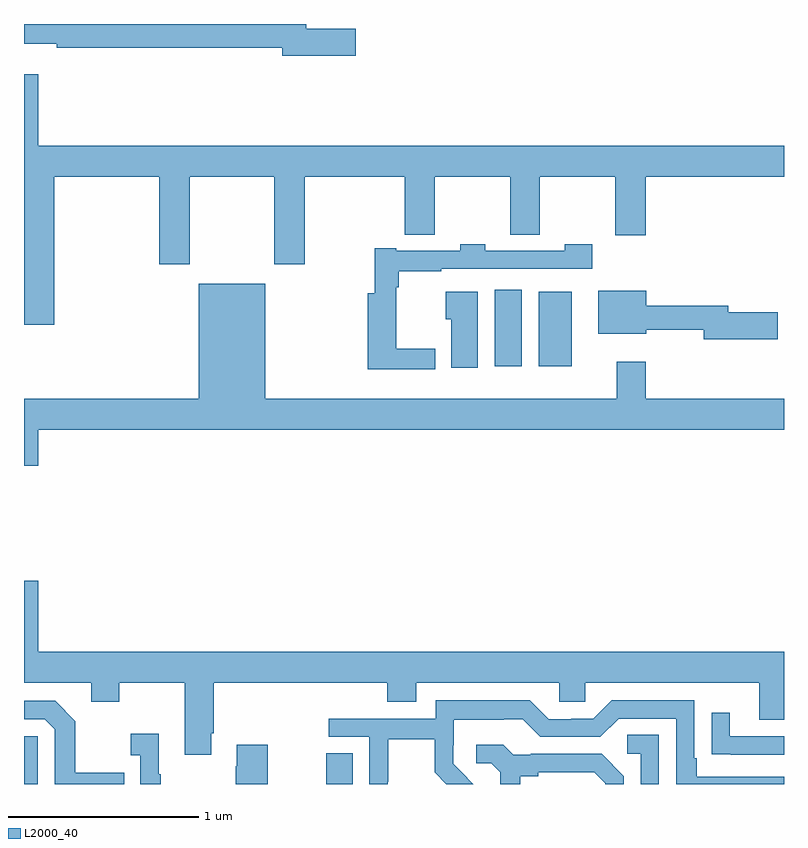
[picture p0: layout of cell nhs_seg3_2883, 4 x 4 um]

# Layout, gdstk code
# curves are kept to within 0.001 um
import gdstk
lib = gdstk.Library(unit=1e-6, precision=1e-09)
def R(c, l, rs):  # rectangles x0, y0, x1, y1
    for r in rs: c.add(gdstk.rectangle(r[:2], r[2:], *l))
def P(c, l, *ps):  # polygons
    for p in ps: c.add(gdstk.Polygon(p, *l))
L2000_40 = (2000, 40)

nhs_seg3_2883 = lib.new_cell('nhs_seg3_2883')
R(nhs_seg3_2883, L2000_40, [(261,684.4,261.072,684.651), (262.591,684.4,262.729,684.563), (263.477,686.6,263.62,687.001), (263.708,686.6,263.884,686.992)])
P(nhs_seg3_2883, L2000_40, [(262.747,688.376),(262.486,688.376),(262.486,688.4),(261,688.4),(261,688.295),(261.172,688.295),(261.172,688.276),(262.358,688.276),(262.358,688.234),(262.747,688.234)],
  [(261.158,687.596),(261.713,687.596),(261.713,687.135),(261.873,687.135),(261.873,687.596),(262.318,687.596),(262.318,687.135),(262.478,687.135),(262.478,687.596),(263.003,687.596),(263.003,687.292),(263.162,687.292),(263.162,687.596),(263.56,687.596),(263.56,687.292),(263.714,687.292),(263.714,687.596),(264.112,687.596),(264.112,687.288),(264.272,687.288),(264.272,687.596),(265,687.596),(265,687.76),(261.076,687.76),(261.076,688.135),(261,688.135),(261,686.817),(261.158,686.817)],
  [(263.164,686.692),(262.958,686.692),(262.958,687.014),(262.973,687.014),(262.973,687.099),(263.195,687.099),(263.195,687.111),(263.992,687.111),(263.992,687.24),(263.847,687.24),(263.847,687.207),(263.427,687.207),(263.427,687.24),(263.295,687.24),(263.295,687.207),(262.96,687.207),(262.96,687.22),(262.845,687.22),(262.845,686.983),(262.808,686.983),(262.808,686.582),(263.164,686.582)],
  [(261.076,686.264),(265,686.264),(265,686.428),(264.272,686.428),(264.272,686.623),(264.119,686.623),(264.119,686.428),(262.27,686.428),(262.27,687.034),(261.92,687.034),(261.92,686.428),(261,686.428),(261,686.076),(261.076,686.076)],
  [(264.967,686.882),(264.706,686.882),(264.706,686.918),(264.274,686.918),(264.274,686.995),(264.023,686.995),(264.023,686.771),(264.274,686.771),(264.274,686.79),(264.578,686.79),(264.578,686.74),(264.967,686.74)],
  [(263.389,686.992),(263.219,686.992),(263.219,686.845),(263.249,686.845),(263.249,686.592),(263.389,686.592)],
  [(261.985,684.667),(261.998,684.667),(261.998,684.932),(262.913,684.932),(262.913,684.833),(263.065,684.833),(263.065,684.932),(263.817,684.932),(263.817,684.834),(263.955,684.834),(263.955,684.932),(264.869,684.932),(264.869,684.738),(265,684.738),(265,685.096),(261.076,685.096),(261.076,685.471),(261,685.471),(261,684.932),(261.353,684.932),(261.353,684.833),(261.501,684.833),(261.501,684.932),(261.845,684.932),(261.845,684.555),(261.985,684.555)],
  [(262.914,684.412),(262.917,684.412),(262.917,684.636),(263.161,684.636),(263.161,684.461),(263.222,684.4),(263.364,684.4),(263.26,684.506),(263.26,684.603),(263.262,684.603),(263.262,684.737),(263.525,684.737),(263.525,684.741),(263.625,684.741),(263.718,684.648),(264.033,684.648),(264.129,684.744),(264.432,684.744),(264.432,684.4),(265,684.4),(265,684.438),(264.541,684.438),(264.541,684.535),(264.528,684.535),(264.528,684.84),(264.093,684.84),(263.997,684.744),(263.879,684.744),(263.879,684.741),(263.763,684.741),(263.663,684.841),(263.166,684.841),(263.166,684.744),(262.605,684.744),(262.605,684.648),(262.818,684.648),(262.818,684.4),(262.914,684.4)],
  [(261.527,684.459),(261.271,684.459),(261.271,684.731),(261.165,684.837),(261,684.837),(261,684.741),(261.108,684.741),(261.162,684.687),(261.162,684.4),(261.527,684.4)],
  [(265,684.651),(264.715,684.651),(264.715,684.775),(264.619,684.775),(264.619,684.556),(264.721,684.556),(264.721,684.555),(265,684.555)],
  [(261.721,684.451),(261.709,684.451),(261.709,684.664),(261.561,684.664),(261.561,684.551),(261.612,684.551),(261.612,684.4),(261.721,684.4)],
  [(264.342,684.659),(264.174,684.659),(264.174,684.558),(264.246,684.558),(264.246,684.4),(264.342,684.4)],
  [(262.284,684.607),(262.121,684.607),(262.121,684.494),(262.114,684.494),(262.114,684.4),(262.284,684.4)],
  [(263.611,684.44),(263.707,684.44),(263.707,684.462),(264.002,684.462),(264.059,684.405),(264.059,684.4),(264.156,684.4),(264.156,684.442),(264.04,684.558),(263.668,684.558),(263.668,684.555),(263.574,684.555),(263.522,684.607),(263.379,684.607),(263.379,684.51),(263.46,684.51),(263.507,684.463),(263.507,684.4),(263.611,684.4)])

lib.write_gds('nhs_seg3_2883.gds')
